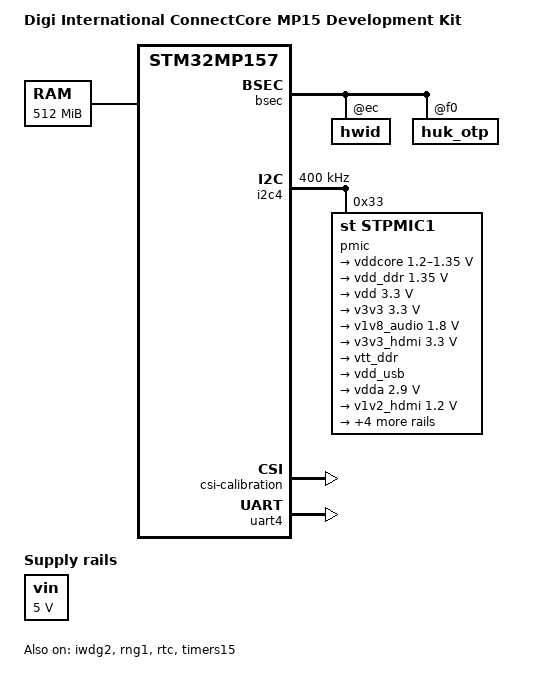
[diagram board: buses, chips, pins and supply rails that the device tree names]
// SPDX-License-Identifier: (GPL-2.0+ OR BSD-3-Clause)
/*
 * Copyright (C) STMicroelectronics 2019 - All Rights Reserved
 * Author: Alexandre Torgue <alexandre.torgue@st.com> for STMicroelectronics.
 * Copyright (C) 2022, Digi International Inc - All Rights Reserved
 */

/dts-v1/;

#include "stm32mp157.dtsi"
#include "stm32mp15xc.dtsi"
#include "stm32mp15-pinctrl.dtsi"
#include "stm32mp15xxac-pinctrl.dtsi"
#include <dt-bindings/clock/stm32mp1-clksrc.h>
#include <dt-bindings/power/stm32mp1-power.h>
#include <dt-bindings/soc/stm32mp15-etzpc.h>

/ {
	model = "Digi International ConnectCore MP15 Development Kit";
	compatible = "digi,ccmp15-dvk", "digi,ccmp15", "st,stm32mp157";

	aliases {
		serial0 = &uart4;
	};

	chosen {
		stdout-path = "serial0:115200n8";
	};

	memory@c0000000 {
		device_type = "memory";
		reg = <0xC0000000 0x20000000>; /* 512 MiB */
	};

	vin: vin {
		compatible = "regulator-fixed";
		regulator-name = "vin";
		regulator-min-microvolt = <5000000>;
		regulator-max-microvolt = <5000000>;
		regulator-always-on;
	};
};

&bsec {
	hwid: hwid@ec {
		reg = <0xec 0xc>;
		st,non-secure-otp;
	};

	huk_otp: huk_otp@f0 {
		reg = <0xf0 0x10>;
	};
};

&clk_hse {
	st,digbypass;
};

&cpu0{
	cpu-supply = <&vddcore>;
};

&cpu1{
	cpu-supply = <&vddcore>;
};

&etzpc {
	st,decprot = <
		DECPROT(STM32MP1_ETZPC_USART1_ID, DECPROT_NS_RW, DECPROT_UNLOCK)
		DECPROT(STM32MP1_ETZPC_SPI6_ID, DECPROT_NS_RW, DECPROT_UNLOCK)
		DECPROT(STM32MP1_ETZPC_I2C4_ID, DECPROT_NS_RW, DECPROT_UNLOCK)
		DECPROT(STM32MP1_ETZPC_I2C6_ID, DECPROT_NS_RW, DECPROT_UNLOCK)
		DECPROT(STM32MP1_ETZPC_RNG1_ID, DECPROT_S_RW, DECPROT_UNLOCK)
		DECPROT(STM32MP1_ETZPC_HASH1_ID, DECPROT_NS_RW, DECPROT_UNLOCK)
		DECPROT(STM32MP1_ETZPC_CRYP1_ID, DECPROT_NS_RW, DECPROT_UNLOCK)
		DECPROT(STM32MP1_ETZPC_DDRCTRL_ID, DECPROT_NS_R_S_W, DECPROT_LOCK)
		DECPROT(STM32MP1_ETZPC_DDRPHYC_ID, DECPROT_NS_R_S_W, DECPROT_LOCK)
		DECPROT(STM32MP1_ETZPC_STGENC_ID, DECPROT_S_RW, DECPROT_LOCK)
		DECPROT(STM32MP1_ETZPC_BKPSRAM_ID, DECPROT_S_RW, DECPROT_LOCK)
		DECPROT(STM32MP1_ETZPC_IWDG1_ID, DECPROT_S_RW, DECPROT_LOCK)
	>;
};

&i2c4 {
	compatible = "st,stm32mp15-i2c-non-secure";
	pinctrl-names = "default";
	pinctrl-0 = <&i2c4_pins_a>;
	i2c-scl-rising-time-ns = <185>;
	i2c-scl-falling-time-ns = <20>;
	clock-frequency = <400000>;
	status = "okay";

	pmic: stpmic@33 {
		compatible = "st,stpmic1";
		reg = <0x33>;
		interrupt-controller;
		#interrupt-cells = <2>;
		status = "okay";

		regulators {
			compatible = "st,stpmic1-regulators";
			buck1-supply = <&vin>;
			buck2-supply = <&vin>;
			buck3-supply = <&vin>;
			buck4-supply = <&vin>;
			ldo1-supply = <&v3v3>;
			ldo2-supply = <&vin>;
			ldo3-supply = <&vdd_ddr>;
			ldo4-supply = <&vin>;
			ldo5-supply = <&vin>;
			ldo6-supply = <&v3v3>;
			vref_ddr-supply = <&vin>;
			boost-supply = <&vin>;
			pwr_sw1-supply = <&bst_out>;
			pwr_sw2-supply = <&bst_out>;

			vddcore: buck1 {
				regulator-name = "vddcore";
				regulator-min-microvolt = <1200000>;
				regulator-max-microvolt = <1350000>;
				regulator-always-on;
				regulator-initial-mode = <0>;
				regulator-over-current-protection;
			};

			vdd_ddr: buck2 {
				regulator-name = "vdd_ddr";
				regulator-min-microvolt = <1350000>;
				regulator-max-microvolt = <1350000>;
				regulator-always-on;
				regulator-initial-mode = <0>;
				regulator-over-current-protection;
			};

			vdd: buck3 {
				regulator-name = "vdd";
				regulator-min-microvolt = <3300000>;
				regulator-max-microvolt = <3300000>;
				regulator-always-on;
				st,mask-reset;
				regulator-initial-mode = <0>;
				regulator-over-current-protection;
			};

			v3v3: buck4 {
				regulator-name = "v3v3";
				regulator-min-microvolt = <3300000>;
				regulator-max-microvolt = <3300000>;
				regulator-always-on;
				regulator-over-current-protection;
				regulator-initial-mode = <0>;
			};

			v1v8_audio: ldo1 {
				regulator-name = "v1v8_audio";
				regulator-min-microvolt = <1800000>;
				regulator-max-microvolt = <1800000>;
				regulator-always-on;
			};

			v3v3_hdmi: ldo2 {
				regulator-name = "v3v3_hdmi";
				regulator-min-microvolt = <3300000>;
				regulator-max-microvolt = <3300000>;
				regulator-always-on;
			};

			vtt_ddr: ldo3 {
				regulator-name = "vtt_ddr";
				regulator-always-on;
				regulator-over-current-protection;
				st,regulator-sink-source;
			};

			vdd_usb: ldo4 {
				regulator-name = "vdd_usb";
			};

			vdda: ldo5 {
				regulator-name = "vdda";
				regulator-min-microvolt = <2900000>;
				regulator-max-microvolt = <2900000>;
				regulator-boot-on;
			};

			v1v2_hdmi: ldo6 {
				regulator-name = "v1v2_hdmi";
				regulator-min-microvolt = <1200000>;
				regulator-max-microvolt = <1200000>;
				regulator-always-on;
			};

			vref_ddr: vref_ddr {
				regulator-name = "vref_ddr";
				regulator-always-on;
				regulator-over-current-protection;
			};

			bst_out: boost {
				regulator-name = "bst_out";
			};

			vbus_otg: pwr_sw1 {
				regulator-name = "vbus_otg";
			};

			vbus_sw: pwr_sw2 {
				regulator-name = "vbus_sw";
				regulator-active-discharge = <1>;
			};
		};
	};
};

&iwdg2 {
	timeout-sec = <32>;
	secure-timeout-sec = <15>;
	status = "okay";
};

&osc_calibration {
	csi-calibration {
		status = "okay";
	};

	hsi-calibration {
		status = "okay";
	};
};

&pwr_regulators {
	system_suspend_supported_soc_modes = <
		STM32_PM_CSLEEP_RUN
		STM32_PM_CSTOP_ALLOW_LP_STOP
		STM32_PM_CSTOP_ALLOW_STANDBY_DDR_SR
	>;
	system_off_soc_mode = <STM32_PM_SHUTDOWN>;
	vdd-supply = <&vdd>;
	vdd_3v3_usbfs-supply = <&vdd_usb>;
};

&rcc {
	st,clksrc = <
		CLK_MPU_PLL1P
		CLK_AXI_PLL2P
		CLK_MCU_PLL3P
		CLK_PLL12_HSE
		CLK_PLL3_HSE
		CLK_PLL4_HSE
		CLK_RTC_LSE
		CLK_MCO1_DISABLED
		CLK_MCO2_DISABLED
	>;

	st,clkdiv = <
		1 /*MPU*/
		0 /*AXI*/
		0 /*MCU*/
		1 /*APB1*/
		1 /*APB2*/
		1 /*APB3*/
		1 /*APB4*/
		2 /*APB5*/
		23 /*RTC*/
		0 /*MCO1*/
		0 /*MCO2*/
	>;

	st,pkcs = <
		CLK_CKPER_HSE
		CLK_FMC_ACLK
		CLK_QSPI_ACLK
		CLK_ETH_PLL4P
		CLK_SDMMC12_PLL4P
		CLK_DSI_DSIPLL
		CLK_STGEN_HSE
		CLK_USBPHY_HSE
		CLK_SPI2S1_PLL3Q
		CLK_SPI2S23_PLL3Q
		CLK_SPI45_HSI
		CLK_SPI6_HSI
		CLK_I2C46_HSI
		CLK_SDMMC3_PLL4P
		CLK_USBO_USBPHY
		CLK_ADC_CKPER
		CLK_CEC_LSE
		CLK_I2C12_HSI
		CLK_I2C35_HSI
		CLK_UART1_HSI
		CLK_UART24_HSI
		CLK_UART35_HSI
		CLK_UART6_HSI
		CLK_UART78_HSI
		CLK_SPDIF_PLL4P
		CLK_FDCAN_PLL4R
		CLK_SAI1_PLL3Q
		CLK_SAI2_PLL3Q
		CLK_SAI3_PLL3Q
		CLK_SAI4_PLL3Q
		CLK_RNG1_CSI
		CLK_RNG2_LSI
		CLK_LPTIM1_PCLK1
		CLK_LPTIM23_PCLK3
		CLK_LPTIM45_LSE
	>;

	/* VCO = 1066.0 MHz => P = 266 (AXI), Q = 533 (GPU), R = 533 (DDR) */
	pll2: st,pll@1 {
		compatible = "st,stm32mp1-pll";
		reg = <1>;
		cfg = <2 65 1 0 0 PQR(1,1,1)>;
		frac = <0x1400>;
	};

	/* VCO = 417.8 MHz => P = 209, Q = 12.28, R = 11 */
	pll3: st,pll@2 {
		compatible = "st,stm32mp1-pll";
		reg = <2>;
		cfg = <1 33 1 33 36 PQR(1,1,1)>;
		frac = <0x1a04>;
	};

	/* VCO = 594.0 MHz => P = 99, Q = 74, R = 66 */
	pll4: st,pll@3 {
		compatible = "st,stm32mp1-pll";
		reg = <3>;
		cfg = <3 98 5 7 8 PQR(1,1,1)>;
	};
};

&rng1 {
	status = "okay";
};

&rtc {
	status = "okay";
};

&timers15 {
	status = "okay";

	counter {
		status = "okay";
	};
};

&uart4 {
	pinctrl-names = "default";
	pinctrl-0 = <&uart4_pins_a>;
	status = "okay";
};

/* Low-power states of regulators */
&v1v2_hdmi {
	standby-ddr-sr {
		regulator-off-in-suspend;
	};
	standby-ddr-off {
		regulator-off-in-suspend;
	};
};

&v1v8_audio {
	standby-ddr-sr {
		regulator-off-in-suspend;
	};
	standby-ddr-off {
		regulator-off-in-suspend;
	};
};

&v3v3 {
	lp-stop {
		regulator-suspend-microvolt = <3300000>;
		regulator-on-in-suspend;
	};
	standby-ddr-sr {
		regulator-off-in-suspend;
	};
	standby-ddr-off {
		regulator-off-in-suspend;
	};
};

&v3v3_hdmi {
	standby-ddr-sr {
		regulator-off-in-suspend;
	};
	standby-ddr-off {
		regulator-off-in-suspend;
	};
};

&vdd {
	lp-stop {
		regulator-suspend-microvolt = <3300000>;
		regulator-on-in-suspend;
	};
	standby-ddr-sr {
		regulator-suspend-microvolt = <3300000>;
		regulator-on-in-suspend;
	};
	standby-ddr-off {
		regulator-suspend-microvolt = <3300000>;
		regulator-on-in-suspend;
	};
};

&vdda {
	standby-ddr-sr {
		regulator-off-in-suspend;
	};
	standby-ddr-off {
		regulator-off-in-suspend;
	};
};

&vddcore {
	lp-stop {
		regulator-on-in-suspend;
		regulator-suspend-microvolt = <1200000>;
	};
	standby-ddr-sr {
		regulator-off-in-suspend;
	};
	standby-ddr-off {
		regulator-off-in-suspend;
	};
};

&vdd_ddr {
	lp-stop {
		regulator-suspend-microvolt = <1350000>;
		regulator-on-in-suspend;
	};
	standby-ddr-sr {
		regulator-suspend-microvolt = <1350000>;
		regulator-on-in-suspend;
	};
	standby-ddr-off {
		regulator-off-in-suspend;
	};
};

&vdd_usb {
	standby-ddr-sr {
		regulator-off-in-suspend;
	};
	standby-ddr-off {
		regulator-off-in-suspend;
	};
};

&vref_ddr {
	lp-stop {
		regulator-on-in-suspend;
	};
	standby-ddr-sr {
		regulator-on-in-suspend;
	};
	standby-ddr-off {
		regulator-off-in-suspend;
	};
};

&vtt_ddr {
	lp-stop {
		regulator-off-in-suspend;
	};
	standby-ddr-sr {
		regulator-off-in-suspend;
	};
	standby-ddr-off {
		regulator-off-in-suspend;
	};
};
